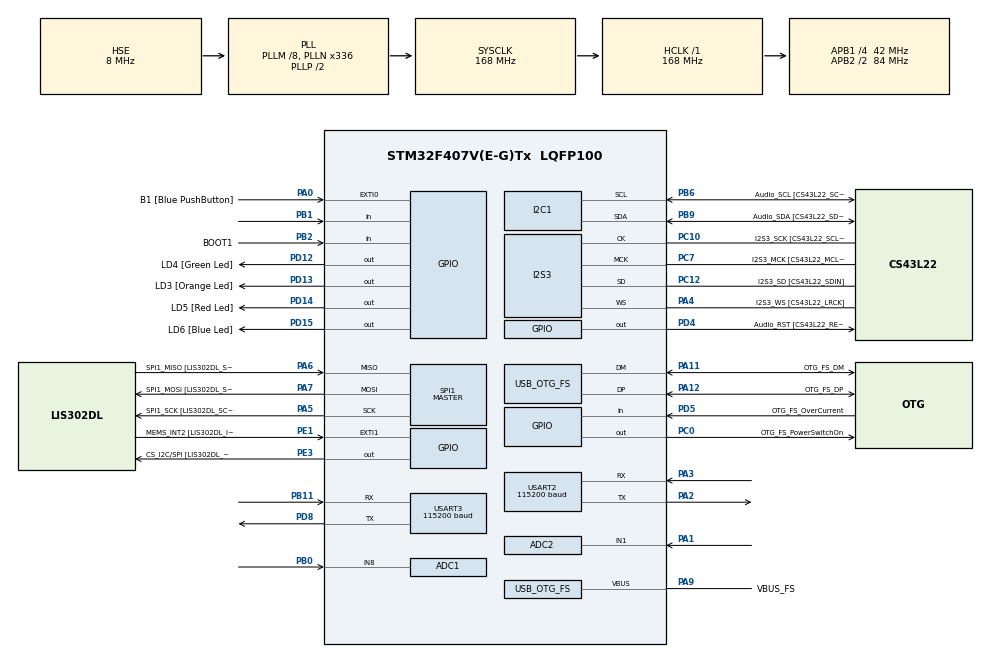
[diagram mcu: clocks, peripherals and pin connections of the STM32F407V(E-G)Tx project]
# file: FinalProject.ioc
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ADC1.Channel-0\#ChannelRegularConversion=ADC_CHANNEL_8
ADC1.ClockPrescaler=ADC_CLOCK_SYNC_PCLK_DIV4
ADC1.ContinuousConvMode=DISABLE
ADC1.DMAContinuousRequests=DISABLE
ADC1.DataAlign=ADC_DATAALIGN_RIGHT
ADC1.DiscontinuousConvMode=DISABLE
ADC1.EOCSelection=ADC_EOC_SINGLE_CONV
ADC1.EnableAnalogWatchDog=false
ADC1.ExternalTrigConv=ADC_SOFTWARE_START
ADC1.ExternalTrigConvEdge=ADC_EXTERNALTRIGCONVEDGE_NONE
ADC1.InjNumberOfConversion=0
ADC1.NbrOfConversion=1
ADC1.NbrOfConversionFlag=1
ADC1.Rank-0\#ChannelRegularConversion=1
ADC1.Resolution=ADC_RESOLUTION_8B
ADC1.SamplingTime-0\#ChannelRegularConversion=ADC_SAMPLETIME_3CYCLES
ADC1.ScanConvMode=DISABLE
ADC1.master=1
ADC2.Channel-0\#ChannelRegularConversion=ADC_CHANNEL_1
ADC2.ClockPrescaler=ADC_CLOCK_SYNC_PCLK_DIV4
ADC2.ContinuousConvMode=DISABLE
ADC2.DMAContinuousRequests=DISABLE
ADC2.DataAlign=ADC_DATAALIGN_RIGHT
ADC2.DiscontinuousConvMode=DISABLE
ADC2.EOCSelection=ADC_EOC_SINGLE_CONV
ADC2.EnableAnalogWatchDog=false
ADC2.ExternalTrigConv=ADC_SOFTWARE_START
ADC2.ExternalTrigConvEdge=ADC_EXTERNALTRIGCONVEDGE_NONE
ADC2.InjNumberOfConversion=0
ADC2.NbrOfConversion=1
ADC2.NbrOfConversionFlag=1
ADC2.Rank-0\#ChannelRegularConversion=1
ADC2.Resolution=ADC_RESOLUTION_8B
ADC2.SamplingTime-0\#ChannelRegularConversion=ADC_SAMPLETIME_3CYCLES
ADC2.ScanConvMode=DISABLE
FREERTOS.Tasks01=defaultTask,0,128,StartDefaultTask,Default,NULL
I2S3.AudioFreq-Half_Duplex_Master=I2S_AUDIOFREQ_96K
I2S3.ErrorAudioFreq=-2.34 %
I2S3.ErrorAudioFreq-Half_Duplex_Master=0.8 %
I2S3.FullDuplexMode=I2S_FULLDUPLEXMODE_DISABLE
I2S3.Instance=SPI$Index
I2S3.RealAudioFreq=93.75 KHz
I2S3.RealAudioFreq-Half_Duplex_Master=96.774 KHz
I2S3.VirtualMode=I2S_MODE_MASTER
Mcu.Family=STM32F4
Mcu.Name=STM32F407V(E-G)Tx
Mcu.Package=LQFP100
NVIC.OTG_FS_IRQn=true\:5\:0\:false\:false\:true\:true\:true
NVIC.PriorityGroup=NVIC_PRIORITYGROUP_4
NVIC.USART2_IRQn=true\:5\:0\:false\:false\:true\:true\:true
NVIC.USART3_IRQn=true\:5\:0\:false\:false\:true\:true\:true
PA0-WKUP.GPIO_Label=B1 [Blue PushButton]
PA0-WKUP.GPIO_ModeDefaultEXTI=GPIO_MODE_EVT_RISING
PA0-WKUP.GPIO_PuPd=GPIO_NOPULL
PA0-WKUP.Signal=GPXTI0
PA1.Signal=ADCx_IN1
PA10.GPIO_Label=OTG_FS_ID
PA10.GPIO_Mode=GPIO_MODE_AF_PP
PA10.GPIO_PuPd=GPIO_NOPULL
PA10.GPIO_Speed=GPIO_SPEED_FREQ_LOW
PA10.Signal=USB_OTG_FS_ID
PA11.GPIO_Label=OTG_FS_DM
PA11.GPIO_Mode=GPIO_MODE_AF_PP
PA11.GPIO_PuPd=GPIO_NOPULL
PA11.GPIO_Speed=GPIO_SPEED_FREQ_LOW
PA11.Mode=Host_Only
PA11.Signal=USB_OTG_FS_DM
PA12.GPIO_Label=OTG_FS_DP
PA12.GPIO_Mode=GPIO_MODE_AF_PP
PA12.GPIO_PuPd=GPIO_NOPULL
PA12.GPIO_Speed=GPIO_SPEED_FREQ_LOW
PA12.Mode=Host_Only
PA12.Signal=USB_OTG_FS_DP
PA13.GPIO_Label=SWDIO
PA13.Mode=Serial_Wire
PA13.Signal=SYS_JTMS-SWDIO
PA14.GPIO_Label=SWCLK
PA14.Mode=Serial_Wire
PA14.Signal=SYS_JTCK-SWCLK
PA2.Mode=Asynchronous
PA2.Signal=USART2_TX
PA3.Mode=Asynchronous
PA3.Signal=USART2_RX
PA4.GPIO_Label=I2S3_WS [CS43L22_LRCK]
PA4.GPIO_Mode=GPIO_MODE_AF_PP
PA4.GPIO_PuPd=GPIO_NOPULL
PA4.GPIO_Speed=GPIO_SPEED_FREQ_LOW
PA4.Mode=Half_Duplex_Master
PA4.Signal=I2S3_WS
PA5.GPIO_Label=SPI1_SCK [LIS302DL_SCL/SPC]
PA5.GPIO_Mode=GPIO_MODE_AF_PP
PA5.GPIO_PuPd=GPIO_NOPULL
PA5.GPIO_Speed=GPIO_SPEED_FREQ_LOW
PA5.Mode=Full_Duplex_Master
PA5.Signal=SPI1_SCK
PA6.GPIO_Label=SPI1_MISO [LIS302DL_SDO]
PA6.GPIO_Mode=GPIO_MODE_AF_PP
PA6.GPIO_PuPd=GPIO_NOPULL
PA6.GPIO_Speed=GPIO_SPEED_FREQ_LOW
PA6.Mode=Full_Duplex_Master
PA6.Signal=SPI1_MISO
PA7.GPIO_Label=SPI1_MOSI [LIS302DL_SDA/SDI/SDO]
PA7.GPIO_Mode=GPIO_MODE_AF_PP
PA7.GPIO_PuPd=GPIO_NOPULL
PA7.GPIO_Speed=GPIO_SPEED_FREQ_LOW
PA7.Mode=Full_Duplex_Master
PA7.Signal=SPI1_MOSI
PA9.GPIO_Label=VBUS_FS
PA9.GPIO_Mode=GPIO_MODE_INPUT
PA9.GPIO_PuPd=GPIO_NOPULL
PA9.Mode=Activate_VBUS
PA9.Signal=USB_OTG_FS_VBUS
PB0.Signal=ADCx_IN8
PB1.Signal=GPIO_Input
PB10.GPIO_Label=CLK_IN [MP45DT02_CLK]
PB10.GPIO_Mode=GPIO_MODE_AF_PP
PB10.GPIO_PuPd=GPIO_NOPULL
PB10.GPIO_Speed=GPIO_SPEED_FREQ_LOW
PB10.Signal=I2S2_CK
PB11.Mode=Asynchronous
PB11.Signal=USART3_RX
PB2.GPIO_Label=BOOT1
PB2.GPIO_Mode=GPIO_MODE_INPUT
PB2.GPIO_PuPd=GPIO_NOPULL
PB2.Signal=GPIO_Input
PB3.GPIO_Label=SWO
PB3.Signal=SYS_JTDO-SWO
PB6.GPIO_Label=Audio_SCL [CS43L22_SCL]
PB6.GPIO_Mode=GPIO_MODE_AF_OD
PB6.GPIO_PuPd=GPIO_NOPULL
PB6.GPIO_Speed=GPIO_SPEED_FREQ_LOW
PB6.Mode=I2C
PB6.Signal=I2C1_SCL
PB9.GPIO_Label=Audio_SDA [CS43L22_SDA]
PB9.GPIO_Mode=GPIO_MODE_AF_OD
PB9.GPIO_PuPd=GPIO_NOPULL
PB9.GPIO_Speed=GPIO_SPEED_FREQ_LOW
PB9.Mode=I2C
PB9.Signal=I2C1_SDA
PC0.GPIO_Label=OTG_FS_PowerSwitchOn
PC0.GPIO_PuPd=GPIO_NOPULL
PC0.GPIO_Speed=GPIO_SPEED_FREQ_LOW
PC0.PinState=GPIO_PIN_SET
PC0.Signal=GPIO_Output
PC10.GPIO_Label=I2S3_SCK [CS43L22_SCLK]
PC10.GPIO_Mode=GPIO_MODE_AF_PP
PC10.GPIO_PuPd=GPIO_NOPULL
PC10.GPIO_Speed=GPIO_SPEED_FREQ_LOW
PC10.Mode=Half_Duplex_Master
PC10.Signal=I2S3_CK
PC12.GPIO_Label=I2S3_SD [CS43L22_SDIN]
PC12.GPIO_Mode=GPIO_MODE_AF_PP
PC12.GPIO_PuPd=GPIO_NOPULL
PC12.GPIO_Speed=GPIO_SPEED_FREQ_LOW
PC12.Mode=Half_Duplex_Master
PC12.Signal=I2S3_SD
PC14-OSC32_IN.GPIO_Label=PC14-OSC32_IN
PC14-OSC32_IN.Mode=LSE-External-Oscillator
PC14-OSC32_IN.Signal=RCC_OSC32_IN
PC15-OSC32_OUT.GPIO_Label=PC15-OSC32_OUT
PC15-OSC32_OUT.Mode=LSE-External-Oscillator
PC15-OSC32_OUT.Signal=RCC_OSC32_OUT
PC3.GPIO_Label=PDM_OUT [MP45DT02_DOUT]
PC3.GPIO_Mode=GPIO_MODE_AF_PP
PC3.GPIO_PuPd=GPIO_NOPULL
PC3.GPIO_Speed=GPIO_SPEED_FREQ_LOW
PC3.Signal=I2S2_SD
PC7.GPIO_Label=I2S3_MCK [CS43L22_MCLK]
PC7.GPIO_Mode=GPIO_MODE_AF_PP
PC7.GPIO_PuPd=GPIO_NOPULL
PC7.GPIO_Speed=GPIO_SPEED_FREQ_LOW
PC7.Mode=Master_Clock_Activated
PC7.Signal=I2S3_MCK
PD12.GPIO_Label=LD4 [Green Led]
PD12.GPIO_PuPd=GPIO_NOPULL
PD12.GPIO_Speed=GPIO_SPEED_FREQ_LOW
PD12.Signal=GPIO_Output
PD13.GPIO_Label=LD3 [Orange Led]
PD13.GPIO_PuPd=GPIO_NOPULL
PD13.GPIO_Speed=GPIO_SPEED_FREQ_LOW
PD13.Signal=GPIO_Output
PD14.GPIO_Label=LD5 [Red Led]
PD14.GPIO_PuPd=GPIO_NOPULL
PD14.GPIO_Speed=GPIO_SPEED_FREQ_LOW
PD14.Signal=GPIO_Output
PD15.GPIO_Label=LD6 [Blue Led]
PD15.GPIO_PuPd=GPIO_NOPULL
PD15.GPIO_Speed=GPIO_SPEED_FREQ_LOW
PD15.Signal=GPIO_Output
PD4.GPIO_Label=Audio_RST [CS43L22_RESET]
PD4.GPIO_PuPd=GPIO_NOPULL
PD4.GPIO_Speed=GPIO_SPEED_FREQ_LOW
PD4.Signal=GPIO_Output
PD5.GPIO_Label=OTG_FS_OverCurrent
PD5.GPIO_Mode=GPIO_MODE_INPUT
PD5.GPIO_PuPd=GPIO_NOPULL
PD5.Signal=GPIO_Input
PD8.Mode=Asynchronous
PD8.Signal=USART3_TX
PE1.GPIO_Label=MEMS_INT2 [LIS302DL_INT2]
PE1.GPIO_ModeDefaultEXTI=GPIO_MODE_EVT_RISING
PE1.GPIO_PuPd=GPIO_NOPULL
PE1.Signal=GPXTI1
PE3.GPIO_Label=CS_I2C/SPI [LIS302DL_CS_I2C/SPI]
PE3.GPIO_PuPd=GPIO_NOPULL
PE3.GPIO_Speed=GPIO_SPEED_FREQ_LOW
PE3.Signal=GPIO_Output
PH0-OSC_IN.GPIO_Label=PH0-OSC_IN
PH0-OSC_IN.Mode=HSE-External-Oscillator
PH0-OSC_IN.Signal=RCC_OSC_IN
PH1-OSC_OUT.GPIO_Label=PH1-OSC_OUT
PH1-OSC_OUT.Mode=HSE-External-Oscillator
PH1-OSC_OUT.Signal=RCC_OSC_OUT
ProjectManager.HeapSize=0x200
ProjectManager.StackSize=0x400
ProjectManager.TargetToolchain=SW4STM32
RCC.48MHZClocksFreq_Value=48000000
RCC.AHBFreq_Value=168000000
RCC.APB1CLKDivider=RCC_HCLK_DIV4
RCC.APB1Freq_Value=42000000
RCC.APB1TimFreq_Value=84000000
RCC.APB2CLKDivider=RCC_HCLK_DIV2
RCC.APB2Freq_Value=84000000
RCC.APB2TimFreq_Value=168000000
RCC.CortexFreq_Value=168000000
RCC.HCLKFreq_Value=168000000
RCC.HSE_VALUE=8000000
RCC.HSI_VALUE=16000000
RCC.PLLM=8
RCC.PLLN=336
RCC.PLLQ=7
RCC.SYSCLKFreq_VALUE=168000000
RCC.SYSCLKSource=RCC_SYSCLKSOURCE_PLLCLK
RCC.VCOOutputFreq_Value=336000000
SH.ADCx_IN1.0=ADC2_IN1,IN1
SH.ADCx_IN8.0=ADC1_IN8,IN8
SPI1.BaudRatePrescaler-Full_Duplex_Master=SPI_BAUDRATEPRESCALER_2
SPI1.CalculateBaudRate-Full_Duplex_Master=42.0 MBits/s
SPI1.Direction=SPI_DIRECTION_2LINES
SPI1.Mode=SPI_MODE_MASTER
SPI1.Mode-Full_Duplex_Master=SPI_MODE_MASTER
SPI1.VirtualType=VM_MASTER
USART2.BaudRate=115200
USART2.VirtualMode=VM_ASYNC
USART3.BaudRate=115200
USART3.VirtualMode=VM_ASYNC
USB_HOST.BSP.number=1
USB_HOST.USBH_HandleTypeDef-CDC_FS=hUsbHostFS
USB_HOST.VirtualModeFS=Cdc
USB_HOST0.BSP.STBoard=false
USB_HOST0.BSP.api=Unknown
USB_HOST0.BSP.i2caddr=0
USB_HOST0.BSP.i2creg=0
USB_HOST0.BSP.instance=PC0
USB_HOST0.BSP.ip=GPIO
USB_HOST0.BSP.mode=Output
USB_HOST0.BSP.name=Drive_VBUS_FS
USB_HOST0.BSP.solution=PC0
USB_OTG_FS.VirtualMode=Host_Only
USB_OTG_FS.phy_itface=HCD_PHY_EMBEDDED
VP_FREERTOS_VS_ENABLE.Mode=Enabled
VP_USB_HOST_VS_USB_HOST_CDC_FS.Mode=CDC_FS
board=STM32F4DISCOVERY

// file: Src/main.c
/**
  ******************************************************************************
  * @file           : main.c
  * @brief          : Main program body
  ******************************************************************************
  * This notice applies to any and all portions of this file
  * that are not between comment pairs USER CODE BEGIN and
  * USER CODE END. Other portions of this file, whether
  * inserted by the user or by software development tools
  * are owned by their respective copyright owners.
  *
  * Copyright (c) 2018 STMicroelectronics International N.V.
  * All rights reserved.
  *
  * Redistribution and use in source and binary forms, with or without
  * modification, are permitted, provided that the following conditions are met:
  *
  * 1. Redistribution of source code must retain the above copyright notice,
  *    this list of conditions and the following disclaimer.
  * 2. Redistributions in binary form must reproduce the above copyright notice,
  *    this list of conditions and the following disclaimer in the documentation
  *    and/or other materials provided with the distribution.
  * 3. Neither the name of STMicroelectronics nor the names of other
  *    contributors to this software may be used to endorse or promote products
  *    derived from this software without specific written permission.
  * 4. This software, including modifications and/or derivative works of this
  *    software, must execute solely and exclusively on microcontroller or
  *    microprocessor devices manufactured by or for STMicroelectronics.
  * 5. Redistribution and use of this software other than as permitted under
  *    this license is void and will automatically terminate your rights under
  *    this license.
  *
  * THIS SOFTWARE IS PROVIDED BY STMICROELECTRONICS AND CONTRIBUTORS "AS IS"
  * AND ANY EXPRESS, IMPLIED OR STATUTORY WARRANTIES, INCLUDING, BUT NOT
  * LIMITED TO, THE IMPLIED WARRANTIES OF MERCHANTABILITY, FITNESS FOR A
  * PARTICULAR PURPOSE AND NON-INFRINGEMENT OF THIRD PARTY INTELLECTUAL PROPERTY
  * RIGHTS ARE DISCLAIMED TO THE FULLEST EXTENT PERMITTED BY LAW. IN NO EVENT
  * SHALL STMICROELECTRONICS OR CONTRIBUTORS BE LIABLE FOR ANY DIRECT, INDIRECT,
  * INCIDENTAL, SPECIAL, EXEMPLARY, OR CONSEQUENTIAL DAMAGES (INCLUDING, BUT NOT
  * LIMITED TO, PROCUREMENT OF SUBSTITUTE GOODS OR SERVICES; LOSS OF USE, DATA,
  * OR PROFITS; OR BUSINESS INTERRUPTION) HOWEVER CAUSED AND ON ANY THEORY OF
  * LIABILITY, WHETHER IN CONTRACT, STRICT LIABILITY, OR TORT (INCLUDING
  * NEGLIGENCE OR OTHERWISE) ARISING IN ANY WAY OUT OF THE USE OF THIS SOFTWARE,
  * EVEN IF ADVISED OF THE POSSIBILITY OF SUCH DAMAGE.
  *
  ******************************************************************************
  */
#include "main.h"
#include "stm32f4xx_hal.h"
#include "cmsis_os.h"
#include "usb_host.h"

ADC_HandleTypeDef hadc1;
ADC_HandleTypeDef hadc2;

I2C_HandleTypeDef hi2c1;

I2S_HandleTypeDef hi2s3;

SPI_HandleTypeDef hspi1;

UART_HandleTypeDef huart2;
UART_HandleTypeDef huart3;

osThreadId defaultTaskHandle;

/* USER CODE BEGIN PV */
/* Private variables ---------------------------------------------------------*/

/* USER CODE END PV */

void SystemClock_Config(void);
static void MX_GPIO_Init(void);
static void MX_I2C1_Init(void);
static void MX_I2S3_Init(void);
static void MX_SPI1_Init(void);
static void MX_USART3_UART_Init(void);
static void MX_USART2_UART_Init(void);
static void MX_ADC2_Init(void);
static void MX_ADC1_Init(void);
void StartDefaultTask(void const * argument);

/* USER CODE BEGIN PFP */
/* Private function prototypes -----------------------------------------------*/

/* USER CODE END PFP */

/* USER CODE BEGIN 0 */
int humidResult;
char message[5]="00000";
char current_humidity[5]="11111";
void humidityTask(void const * argument)
{
  /* init code for USB_HOST */
  MX_USB_HOST_Init();
  /* Infinite loop */
  for(;;)
  {
	  HAL_ADC_Start(&hadc2);
	  HAL_ADC_PollForConversion(&hadc2, 100);
	  humidResult = HAL_ADC_GetValue(&hadc2);
	  HAL_ADC_Stop(&hadc2);
	  sprintf(current_humidity, "%d\n", humidResult);
	  osDelay(100);
  }
}

/* USER CODE END 0 */

int main(void)
{

  /* MCU Configuration----------------------------------------------------------*/

  /* Reset of all peripherals, Initializes the Flash interface and the Systick. */
  HAL_Init();

  /* Configure the system clock */
  SystemClock_Config();

  /* Initialize all configured peripherals */
  MX_GPIO_Init();
  MX_I2C1_Init();
  MX_I2S3_Init();
  MX_SPI1_Init();
  MX_USART3_UART_Init();
  MX_USART2_UART_Init();
  MX_ADC2_Init();
  MX_ADC1_Init();

  /* Create the thread(s) */
  /* definition and creation of defaultTask */
  osThreadDef(defaultTask, StartDefaultTask, osPriorityNormal, 0, 128);
  defaultTaskHandle = osThreadCreate(osThread(defaultTask), NULL);

  /* USER CODE BEGIN RTOS_THREADS */
  /* add threads, ... */
  osThreadDef(humidityThread, humidityTask, osPriorityNormal, 0, 128);
  osThreadCreate(osThread(humidityThread), NULL);
  /* USER CODE END RTOS_THREADS */

  /* Start scheduler */
  osKernelStart();

  /* We should never get here as control is now taken by the scheduler */

  /* Infinite loop */
  while (1)
  {

  }

}

void SystemClock_Config(void)
{

  RCC_OscInitTypeDef RCC_OscInitStruct;
  RCC_ClkInitTypeDef RCC_ClkInitStruct;
  RCC_PeriphCLKInitTypeDef PeriphClkInitStruct;

    /**Configure the main internal regulator output voltage
    */
  __HAL_RCC_PWR_CLK_ENABLE();

  __HAL_PWR_VOLTAGESCALING_CONFIG(PWR_REGULATOR_VOLTAGE_SCALE1);

    /**Initializes the CPU, AHB and APB busses clocks
    */
  RCC_OscInitStruct.OscillatorType = RCC_OSCILLATORTYPE_HSE;
  RCC_OscInitStruct.HSEState = RCC_HSE_ON;
  RCC_OscInitStruct.PLL.PLLState = RCC_PLL_ON;
  RCC_OscInitStruct.PLL.PLLSource = RCC_PLLSOURCE_HSE;
  RCC_OscInitStruct.PLL.PLLM = 8;
  RCC_OscInitStruct.PLL.PLLN = 336;
  RCC_OscInitStruct.PLL.PLLP = RCC_PLLP_DIV2;
  RCC_OscInitStruct.PLL.PLLQ = 7;
  if (HAL_RCC_OscConfig(&RCC_OscInitStruct) != HAL_OK)
  {
    _Error_Handler(__FILE__, __LINE__);
  }

    /**Initializes the CPU, AHB and APB busses clocks
    */
  RCC_ClkInitStruct.ClockType = RCC_CLOCKTYPE_HCLK|RCC_CLOCKTYPE_SYSCLK
                              |RCC_CLOCKTYPE_PCLK1|RCC_CLOCKTYPE_PCLK2;
  RCC_ClkInitStruct.SYSCLKSource = RCC_SYSCLKSOURCE_PLLCLK;
  RCC_ClkInitStruct.AHBCLKDivider = RCC_SYSCLK_DIV1;
  RCC_ClkInitStruct.APB1CLKDivider = RCC_HCLK_DIV4;
  RCC_ClkInitStruct.APB2CLKDivider = RCC_HCLK_DIV2;

  if (HAL_RCC_ClockConfig(&RCC_ClkInitStruct, FLASH_LATENCY_5) != HAL_OK)
  {
    _Error_Handler(__FILE__, __LINE__);
  }

  PeriphClkInitStruct.PeriphClockSelection = RCC_PERIPHCLK_I2S;
  PeriphClkInitStruct.PLLI2S.PLLI2SN = 192;
  PeriphClkInitStruct.PLLI2S.PLLI2SR = 2;
  if (HAL_RCCEx_PeriphCLKConfig(&PeriphClkInitStruct) != HAL_OK)
  {
    _Error_Handler(__FILE__, __LINE__);
  }

    /**Configure the Systick interrupt time
    */
  HAL_SYSTICK_Config(HAL_RCC_GetHCLKFreq()/1000);

    /**Configure the Systick
    */
  HAL_SYSTICK_CLKSourceConfig(SYSTICK_CLKSOURCE_HCLK);

  /* SysTick_IRQn interrupt configuration */
  HAL_NVIC_SetPriority(SysTick_IRQn, 15, 0);
}

/* ADC1 init function */
static void MX_ADC1_Init(void)
{

  ADC_ChannelConfTypeDef sConfig;

    /**Configure the global features of the ADC (Clock, Resolution, Data Alignment and number of conversion)
    */
  hadc1.Instance = ADC1;
  hadc1.Init.ClockPrescaler = ADC_CLOCK_SYNC_PCLK_DIV4;
  hadc1.Init.Resolution = ADC_RESOLUTION_8B;
  hadc1.Init.ScanConvMode = DISABLE;
  hadc1.Init.ContinuousConvMode = DISABLE;
  hadc1.Init.DiscontinuousConvMode = DISABLE;
  hadc1.Init.ExternalTrigConvEdge = ADC_EXTERNALTRIGCONVEDGE_NONE;
  hadc1.Init.ExternalTrigConv = ADC_SOFTWARE_START;
  hadc1.Init.DataAlign = ADC_DATAALIGN_RIGHT;
  hadc1.Init.NbrOfConversion = 1;
  hadc1.Init.DMAContinuousRequests = DISABLE;
  hadc1.Init.EOCSelection = ADC_EOC_SINGLE_CONV;
  if (HAL_ADC_Init(&hadc1) != HAL_OK)
  {
    _Error_Handler(__FILE__, __LINE__);
  }

    /**Configure for the selected ADC regular channel its corresponding rank in the sequencer and its sample time.
    */
  sConfig.Channel = ADC_CHANNEL_8;
  sConfig.Rank = 1;
  sConfig.SamplingTime = ADC_SAMPLETIME_3CYCLES;
  if (HAL_ADC_ConfigChannel(&hadc1, &sConfig) != HAL_OK)
  {
    _Error_Handler(__FILE__, __LINE__);
  }

}

/* ADC2 init function */
static void MX_ADC2_Init(void)
{

  ADC_ChannelConfTypeDef sConfig;

    /**Configure the global features of the ADC (Clock, Resolution, Data Alignment and number of conversion)
    */
  hadc2.Instance = ADC2;
  hadc2.Init.ClockPrescaler = ADC_CLOCK_SYNC_PCLK_DIV4;
  hadc2.Init.Resolution = ADC_RESOLUTION_8B;
  hadc2.Init.ScanConvMode = DISABLE;
  hadc2.Init.ContinuousConvMode = DISABLE;
  hadc2.Init.DiscontinuousConvMode = DISABLE;
  hadc2.Init.ExternalTrigConvEdge = ADC_EXTERNALTRIGCONVEDGE_NONE;
  hadc2.Init.ExternalTrigConv = ADC_SOFTWARE_START;
  hadc2.Init.DataAlign = ADC_DATAALIGN_RIGHT;
  hadc2.Init.NbrOfConversion = 1;
  hadc2.Init.DMAContinuousRequests = DISABLE;
  hadc2.Init.EOCSelection = ADC_EOC_SINGLE_CONV;
  if (HAL_ADC_Init(&hadc2) != HAL_OK)
  {
    _Error_Handler(__FILE__, __LINE__);
  }

    /**Configure for the selected ADC regular channel its corresponding rank in the sequencer and its sample time.
    */
  sConfig.Channel = ADC_CHANNEL_1;
  sConfig.Rank = 1;
  sConfig.SamplingTime = ADC_SAMPLETIME_3CYCLES;
  if (HAL_ADC_ConfigChannel(&hadc2, &sConfig) != HAL_OK)
  {
    _Error_Handler(__FILE__, __LINE__);
  }

}

/* I2C1 init function */
static void MX_I2C1_Init(void)
{

  hi2c1.Instance = I2C1;
  hi2c1.Init.ClockSpeed = 100000;
  hi2c1.Init.DutyCycle = I2C_DUTYCYCLE_2;
  hi2c1.Init.OwnAddress1 = 0;
  hi2c1.Init.AddressingMode = I2C_ADDRESSINGMODE_7BIT;
  hi2c1.Init.DualAddressMode = I2C_DUALADDRESS_DISABLE;
  hi2c1.Init.OwnAddress2 = 0;
  hi2c1.Init.GeneralCallMode = I2C_GENERALCALL_DISABLE;
  hi2c1.Init.NoStretchMode = I2C_NOSTRETCH_DISABLE;
  if (HAL_I2C_Init(&hi2c1) != HAL_OK)
  {
    _Error_Handler(__FILE__, __LINE__);
  }

}

/* I2S3 init function */
static void MX_I2S3_Init(void)
{

  hi2s3.Instance = SPI3;
  hi2s3.Init.Mode = I2S_MODE_MASTER_TX;
  hi2s3.Init.Standard = I2S_STANDARD_PHILIPS;
  hi2s3.Init.DataFormat = I2S_DATAFORMAT_16B;
  hi2s3.Init.MCLKOutput = I2S_MCLKOUTPUT_ENABLE;
  hi2s3.Init.AudioFreq = I2S_AUDIOFREQ_96K;
  hi2s3.Init.CPOL = I2S_CPOL_LOW;
  hi2s3.Init.ClockSource = I2S_CLOCK_PLL;
  hi2s3.Init.FullDuplexMode = I2S_FULLDUPLEXMODE_DISABLE;
  if (HAL_I2S_Init(&hi2s3) != HAL_OK)
  {
    _Error_Handler(__FILE__, __LINE__);
  }

}

/* SPI1 init function */
static void MX_SPI1_Init(void)
{

  /* SPI1 parameter configuration*/
  hspi1.Instance = SPI1;
  hspi1.Init.Mode = SPI_MODE_MASTER;
  hspi1.Init.Direction = SPI_DIRECTION_2LINES;
  hspi1.Init.DataSize = SPI_DATASIZE_8BIT;
  hspi1.Init.CLKPolarity = SPI_POLARITY_LOW;
  hspi1.Init.CLKPhase = SPI_PHASE_1EDGE;
  hspi1.Init.NSS = SPI_NSS_SOFT;
  hspi1.Init.BaudRatePrescaler = SPI_BAUDRATEPRESCALER_2;
  hspi1.Init.FirstBit = SPI_FIRSTBIT_MSB;
  hspi1.Init.TIMode = SPI_TIMODE_DISABLE;
  hspi1.Init.CRCCalculation = SPI_CRCCALCULATION_DISABLE;
  hspi1.Init.CRCPolynomial = 10;
  if (HAL_SPI_Init(&hspi1) != HAL_OK)
  {
    _Error_Handler(__FILE__, __LINE__);
  }

}

/* USART2 init function */
static void MX_USART2_UART_Init(void)
{

  huart2.Instance = USART2;
  huart2.Init.BaudRate = 115200;
  huart2.Init.WordLength = UART_WORDLENGTH_8B;
  huart2.Init.StopBits = UART_STOPBITS_1;
  huart2.Init.Parity = UART_PARITY_NONE;
  huart2.Init.Mode = UART_MODE_TX_RX;
  huart2.Init.HwFlowCtl = UART_HWCONTROL_NONE;
  huart2.Init.OverSampling = UART_OVERSAMPLING_16;
  if (HAL_UART_Init(&huart2) != HAL_OK)
  {
    _Error_Handler(__FILE__, __LINE__);
  }

}

/* USART3 init function */
static void MX_USART3_UART_Init(void)
{

  huart3.Instance = USART3;
  huart3.Init.BaudRate = 115200;
  huart3.Init.WordLength = UART_WORDLENGTH_8B;
  huart3.Init.StopBits = UART_STOPBITS_1;
  huart3.Init.Parity = UART_PARITY_NONE;
  huart3.Init.Mode = UART_MODE_TX_RX;
  huart3.Init.HwFlowCtl = UART_HWCONTROL_NONE;
  huart3.Init.OverSampling = UART_OVERSAMPLING_16;
  if (HAL_UART_Init(&huart3) != HAL_OK)
  {
    _Error_Handler(__FILE__, __LINE__);
  }

}

/** Configure pins as
        * Analog
        * Input
        * Output
        * EVENT_OUT
        * EXTI
     PC3   ------> I2S2_SD
     PB10   ------> I2S2_CK
*/
static void MX_GPIO_Init(void)
{

  GPIO_InitTypeDef GPIO_InitStruct;

  /* GPIO Ports Clock Enable */
  __HAL_RCC_GPIOE_CLK_ENABLE();
  __HAL_RCC_GPIOC_CLK_ENABLE();
  __HAL_RCC_GPIOH_CLK_ENABLE();
  __HAL_RCC_GPIOA_CLK_ENABLE();
  __HAL_RCC_GPIOB_CLK_ENABLE();
  __HAL_RCC_GPIOD_CLK_ENABLE();

  /*Configure GPIO pin Output Level */
  HAL_GPIO_WritePin(CS_I2C_SPI_GPIO_Port, CS_I2C_SPI_Pin, GPIO_PIN_RESET);

  /*Configure GPIO pin Output Level */
  HAL_GPIO_WritePin(OTG_FS_PowerSwitchOn_GPIO_Port, OTG_FS_PowerSwitchOn_Pin, GPIO_PIN_SET);

  /*Configure GPIO pin Output Level */
  HAL_GPIO_WritePin(GPIOD, LD4_Pin|LD3_Pin|LD5_Pin|LD6_Pin
                          |Audio_RST_Pin, GPIO_PIN_RESET);

  /*Configure GPIO pin : CS_I2C_SPI_Pin */
  GPIO_InitStruct.Pin = CS_I2C_SPI_Pin;
  GPIO_InitStruct.Mode = GPIO_MODE_OUTPUT_PP;
  GPIO_InitStruct.Pull = GPIO_NOPULL;
  GPIO_InitStruct.Speed = GPIO_SPEED_FREQ_LOW;
  HAL_GPIO_Init(CS_I2C_SPI_GPIO_Port, &GPIO_InitStruct);

  /*Configure GPIO pin : OTG_FS_PowerSwitchOn_Pin */
  GPIO_InitStruct.Pin = OTG_FS_PowerSwitchOn_Pin;
  GPIO_InitStruct.Mode = GPIO_MODE_OUTPUT_PP;
  GPIO_InitStruct.Pull = GPIO_NOPULL;
  GPIO_InitStruct.Speed = GPIO_SPEED_FREQ_LOW;
  HAL_GPIO_Init(OTG_FS_PowerSwitchOn_GPIO_Port, &GPIO_InitStruct);

  /*Configure GPIO pin : PDM_OUT_Pin */
  GPIO_InitStruct.Pin = PDM_OUT_Pin;
  GPIO_InitStruct.Mode = GPIO_MODE_AF_PP;
  GPIO_InitStruct.Pull = GPIO_NOPULL;
  GPIO_InitStruct.Speed = GPIO_SPEED_FREQ_LOW;
  GPIO_InitStruct.Alternate = GPIO_AF5_SPI2;
  HAL_GPIO_Init(PDM_OUT_GPIO_Port, &GPIO_InitStruct);

  /*Configure GPIO pin : B1_Pin */
  GPIO_InitStruct.Pin = B1_Pin;
  GPIO_InitStruct.Mode = GPIO_MODE_EVT_RISING;
  GPIO_InitStruct.Pull = GPIO_NOPULL;
  HAL_GPIO_Init(B1_GPIO_Port, &GPIO_InitStruct);

  /*Configure GPIO pins : PB1 BOOT1_Pin */
  GPIO_InitStruct.Pin = GPIO_PIN_1|BOOT1_Pin;
  GPIO_InitStruct.Mode = GPIO_MODE_INPUT;
  GPIO_InitStruct.Pull = GPIO_NOPULL;
  HAL_GPIO_Init(GPIOB, &GPIO_InitStruct);

  /*Configure GPIO pin : CLK_IN_Pin */
  GPIO_InitStruct.Pin = CLK_IN_Pin;
  GPIO_InitStruct.Mode = GPIO_MODE_AF_PP;
  GPIO_InitStruct.Pull = GPIO_NOPULL;
  GPIO_InitStruct.Speed = GPIO_SPEED_FREQ_LOW;
  GPIO_InitStruct.Alternate = GPIO_AF5_SPI2;
  HAL_GPIO_Init(CLK_IN_GPIO_Port, &GPIO_InitStruct);

  /*Configure GPIO pins : LD4_Pin LD3_Pin LD5_Pin LD6_Pin
                           Audio_RST_Pin */
  GPIO_InitStruct.Pin = LD4_Pin|LD3_Pin|LD5_Pin|LD6_Pin
                          |Audio_RST_Pin;
  GPIO_InitStruct.Mode = GPIO_MODE_OUTPUT_PP;
  GPIO_InitStruct.Pull = GPIO_NOPULL;
  GPIO_InitStruct.Speed = GPIO_SPEED_FREQ_LOW;
  HAL_GPIO_Init(GPIOD, &GPIO_InitStruct);

  /*Configure GPIO pin : OTG_FS_OverCurrent_Pin */
  GPIO_InitStruct.Pin = OTG_FS_OverCurrent_Pin;
  GPIO_InitStruct.Mode = GPIO_MODE_INPUT;
  GPIO_InitStruct.Pull = GPIO_NOPULL;
  HAL_GPIO_Init(OTG_FS_OverCurrent_GPIO_Port, &GPIO_InitStruct);

  /*Configure GPIO pin : MEMS_INT2_Pin */
  GPIO_InitStruct.Pin = MEMS_INT2_Pin;
  GPIO_InitStruct.Mode = GPIO_MODE_EVT_RISING;
  GPIO_InitStruct.Pull = GPIO_NOPULL;
  HAL_GPIO_Init(MEMS_INT2_GPIO_Port, &GPIO_InitStruct);

}

void StartDefaultTask(void const * argument)
{
  /* init code for USB_HOST */
  MX_USB_HOST_Init();

  /* USER CODE BEGIN 5 */
  /* Infinite loop */
  for(;;)
  {
	HAL_UART_Transmit(&huart2,current_humidity,5,100);
    osDelay(100);
  }
  /* USER CODE END 5 */
}

void _Error_Handler(char *file, int line)
{
  while(1)
  {
  }
}

/************************ (C) COPYRIGHT STMicroelectronics *****END OF FILE****/
